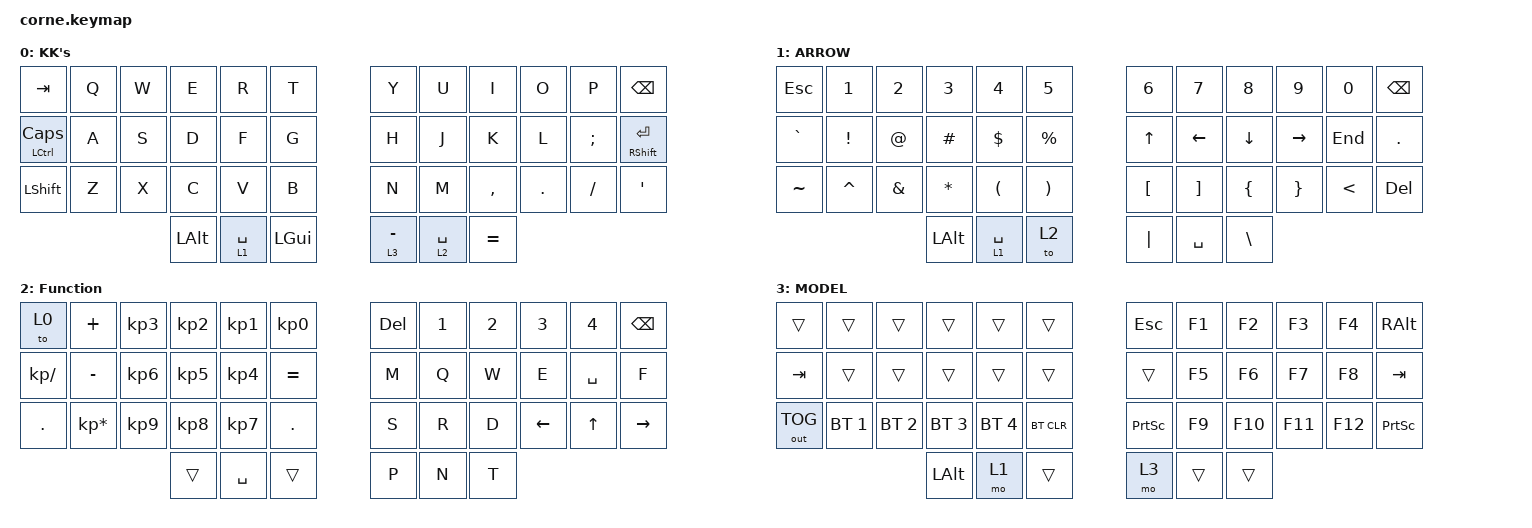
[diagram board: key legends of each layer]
/*
 * Copyright (c) 2020 The ZMK Contributors
 *
 * SPDX-License-Identifier: MIT
 */

#include <behaviors.dtsi>
#include <dt-bindings/zmk/keys.h>
#include <dt-bindings/zmk/bt.h>
#include <dt-bindings/zmk/rgb.h>
#include <dt-bindings/zmk/ext_power.h>
#include <dt-bindings/zmk/outputs.h>

&sl {
    release-after-ms = <500>;
};


/ {
        keymap {
                compatible = "zmk,keymap";

                0_layer {
                label = "KK's";                
          
// -----------------------------------------------------------------------------------------
// |  TAB    |  Q  |  W  |  E  |  R  |  T  |      |  Y  |  U  |  I  |  O  |  P  | BKSP |
// |CAP(CTRL)|  A  |  S  |  D  |  F  |  G  |      |  H  |  J  |  K  |  L  |  ;  |ENT(SHFT)|
// |   SHFT  |  Z  |  X  |  C  |  V  |  B  |      |  N  |  M  | ,<  | .>  | /?  | ' "  |
//                     |LALT |SPC(MO1)|LGUI|      |-_(MO3)|SPC(MO2)| =+ |
// -----------------------------------------------------------------------------------------

                        bindings = <
   &kp TAB        &kp Q &kp W &kp E &kp R &kp T     &kp Y &kp U  &kp I     &kp O   &kp P    &kp BSPC
   &mt LCTRL CAPS &kp A &kp S &kp D &kp F &kp G      &kp H &kp J  &kp K     &kp L   &kp SEMI &mt RSHFT ENTER
   &kp LSHFT      &kp Z &kp X &kp C &kp V &kp B     &kp N &kp M  &kp COMMA &kp DOT &kp FSLH &kp SQT
                  &kp LALT &lt 1 SPACE &kp LGUI     &lt 3 MINUS  &lt 2 SPACE &kp EQUAL 
                        >;
                };
                
                1_layer {
                label = "ARROW";

// -----------------------------------------------------------------------------------------
// |  ESC |  1  |  2  |  3  |  4  |  5  |      |  6  |   7  |  8  |  9  |  0   |  BS  |
// |  `   |  !  |  @  |  #  |  $  |  %  |      | UP  | LEFT |DOWN |RIGHT| END  |  .   |
// |  ~   |  ^  |  &  |  *  |  (  |  )  |      |  [  |  ]   |  {  |  }  |  <   |  DEL |
//                  |LALT|SPC(MO1)|TO(2)|      |  |  | SPC  |  \  |
// -----------------------------------------------------------------------------------------
                                   
                        bindings = <
   &kp ESC   &kp N1    &kp N2   &kp N3   &kp N4   &kp N5         &kp N6   &kp N7    &kp N8    &kp N9    &kp N0  &kp BSPC
   &kp GRAVE &kp EXCL  &kp AT   &kp HASH &kp DLLR &kp PRCNT      &kp UP   &kp LEFT  &kp DOWN  &kp RIGHT &kp END &kp DOT
   &kp TILDE &kp CARET &kp AMPS &kp STAR &kp LPAR &kp RPAR       &kp LBKT &kp RBKT  &kp LBRC  &kp RBRC  &kp LT  &kp DEL
                                  &kp LALT &lt 1 SPACE &to 2     &kp PIPE &kp SPACE &kp BSLH
                        >;
                };
                
                2_layer {
                label = "Function";
                
// --------------------------------------------------------------------------------------------
// | to(0)|  +  |  3  |  2  |  1  |  0  |      |  DEL |  1  |  2  |  3   |  4  |  BS |
// |  /   |  -  |  6  |  5  |  4  |  =  |      |  M   |  Q  |  W  |  E   | SPC |  F  |
// |  .   |  *  |  9  |  8  |  7  |  .  |      |  S   |  R  |  D  | LEFT | UP  |RIGHT|
//                    |     | SPC |     |      |  P   |  N  |  T  |
// --------------------------------------------------------------------------------------------

                        bindings = <
   &to 0        &kp PLUS &kp KP_N3  &kp KP_N2  &kp KP_N1  &kp KP_N0      &kp DEL  &kp N1  &kp N2  &kp N3  &kp N4  &kp BSPC
   &kp KP_SLASH &kp MINUS &kp KP_N6 &kp KP_N5  &kp KP_N4  &kp EQUAL      &kp M   &kp Q &kp W &kp E  &kp SPACE  &kp F
   &kp DOT      &kp KP_MULTIPLY &kp KP_N9  &kp KP_N8  &kp KP_N7 &kp DOT  &kp S  &kp R &kp D &kp LEFT &kp UP &kp RIGHT
                                &trans   &kp SPACE  &trans               &kp P  &kp N  &kp T
                        >;
                };
                
                3_layer {
                label = "MODEL";
                
// ------------------------------------------------------------------------------------------
// |      |     |     |     |     |     |      | ESC |  F1  |  F2  |  F3  |  F4  | ALT |
// | TAB  |     |     |     |     |     |      |     |  F5  |  F6  |  F7  |  F8  | TAB |
// |USB/BLE| BT1| BT2 | BT3 | BT4 |BTCLR|      |PSCRN|  F9  |  F10 |  F11 |  F12 |PSCRN| 
//                    | ALT |mo(1)|     |      |mo(3)|      |      |
// ------------------------------------------------------------------------------------------

                        bindings = <
   &trans &trans &trans &trans  &trans  &trans                                  &kp ESC  &kp F1  &kp F2  &kp F3  &kp F4  &kp RALT
   &kp TAB &trans &trans &trans  &trans  &trans                                 &trans   &kp F5  &kp F6  &kp F7  &kp F8  &kp TAB
   &out OUT_TOG &bt BT_SEL 1 &bt BT_SEL 2 &bt BT_SEL 3 &bt BT_SEL 4 &bt BT_CLR  &kp PSCRN  &kp F9  &kp F10 &kp F11 &kp F12 &kp PSCRN
                    &kp LALT &mo 1 &trans                                       &mo 3  &trans &trans
                        >;
                };
                
        };
};
